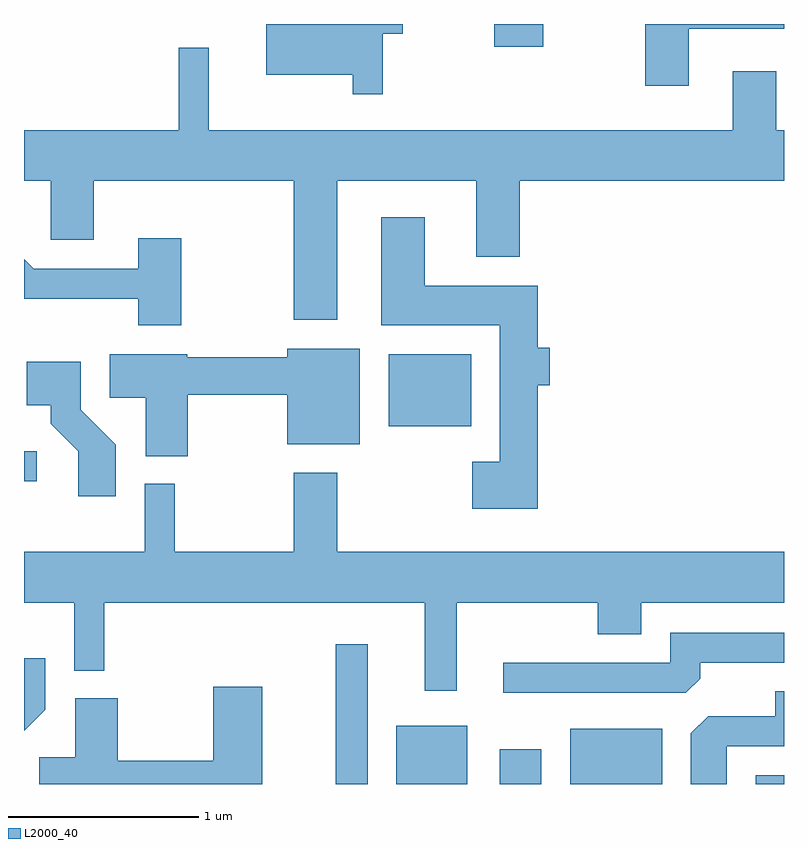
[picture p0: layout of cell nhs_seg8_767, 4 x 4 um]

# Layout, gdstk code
import gdstk
lib = gdstk.Library(unit=1e-6, precision=1e-09)
def R(c, l, rs):  # rectangles x0, y0, x1, y1
    for r in rs: c.add(gdstk.rectangle(r[:2], r[2:], *l))
def P(c, l, *ps):  # polygons
    for p in ps: c.add(gdstk.Polygon(p, *l))
L2000_40 = (2000, 40)

nhs_seg8_767 = lib.new_cell('nhs_seg8_767')
R(nhs_seg8_767, L2000_40, [(209.251,1844.342,209.419,1845.078), (209.571,1844.342,209.944,1844.649), (210.116,1844.342,210.334,1844.524), (210.486,1844.342,210.969,1844.634), (211.461,1844.342,211.611,1844.389), (207.611,1845.936,207.678,1846.094), (209.531,1846.226,209.964,1846.604), (210.086,1848.221,210.344,1848.342)])
P(nhs_seg8_767, L2000_40, [(211.109,1848.316),(211.611,1848.316),(211.611,1848.342),(210.881,1848.342),(210.881,1848.016),(211.109,1848.016)],
  [(209.499,1848.291),(209.604,1848.291),(209.604,1848.342),(208.886,1848.342),(208.886,1848.076),(209.341,1848.076),(209.341,1847.973),(209.499,1847.973)],
  [(209.259,1847.516),(209.991,1847.516),(209.991,1847.116),(210.219,1847.116),(210.219,1847.516),(211.611,1847.516),(211.611,1847.784),(211.569,1847.784),(211.569,1848.094),(211.341,1848.094),(211.341,1847.784),(208.584,1847.784),(208.584,1848.218),(208.426,1848.218),(208.426,1847.784),(207.611,1847.784),(207.611,1847.516),(207.751,1847.516),(207.751,1847.206),(207.979,1847.206),(207.979,1847.516),(209.031,1847.516),(209.031,1846.786),(209.259,1846.786)],
  [(210.314,1846.441),(210.379,1846.441),(210.379,1846.639),(210.314,1846.639),(210.314,1846.964),(209.719,1846.964),(209.719,1847.324),(209.491,1847.324),(209.491,1846.756),(210.116,1846.756),(210.116,1846.039),(209.971,1846.039),(209.971,1845.791),(210.314,1845.791)],
  [(208.439,1847.214),(208.211,1847.214),(208.211,1847.054),(207.662,1847.054),(207.611,1847.105),(207.611,1846.896),(208.211,1846.896),(208.211,1846.756),(208.439,1846.756)],
  [(208.474,1846.391),(208.996,1846.391),(208.996,1846.131),(209.379,1846.131),(209.379,1846.634),(208.996,1846.634),(208.996,1846.589),(208.47,1846.589),(208.47,1846.604),(208.061,1846.604),(208.061,1846.376),(208.251,1846.376),(208.251,1846.066),(208.474,1846.066)],
  [(208.094,1846.127),(207.909,1846.312),(207.909,1846.564),(207.626,1846.564),(207.626,1846.336),(207.751,1846.336),(207.751,1846.239),(207.896,1846.094),(207.896,1845.856),(208.094,1845.856)],
  [(209.889,1845.296),(210.631,1845.296),(210.631,1845.131),(210.859,1845.131),(210.859,1845.296),(211.611,1845.296),(211.611,1845.564),(209.259,1845.564),(209.259,1845.979),(209.031,1845.979),(209.031,1845.564),(208.404,1845.564),(208.404,1845.923),(208.246,1845.923),(208.246,1845.564),(207.611,1845.564),(207.611,1845.296),(207.876,1845.296),(207.876,1844.938),(208.034,1844.938),(208.034,1845.296),(209.721,1845.296),(209.721,1844.833),(209.889,1844.833)],
  [(211.169,1844.897),(211.169,1844.981),(211.611,1844.981),(211.611,1845.139),(211.011,1845.139),(211.011,1844.979),(210.133,1844.979),(210.133,1844.821),(211.094,1844.821)],
  [(207.724,1844.734),(207.724,1845.004),(207.611,1845.004),(207.611,1844.621)],
  [(208.864,1844.854),(208.606,1844.854),(208.606,1844.464),(208.104,1844.464),(208.104,1844.794),(207.881,1844.794),(207.881,1844.484),(207.691,1844.484),(207.691,1844.342),(208.864,1844.342)],
  [(211.309,1844.541),(211.611,1844.541),(211.611,1844.829),(211.566,1844.829),(211.566,1844.699),(211.212,1844.699),(211.121,1844.609),(211.121,1844.342),(211.309,1844.342)])

lib.write_gds('nhs_seg8_767.gds')
